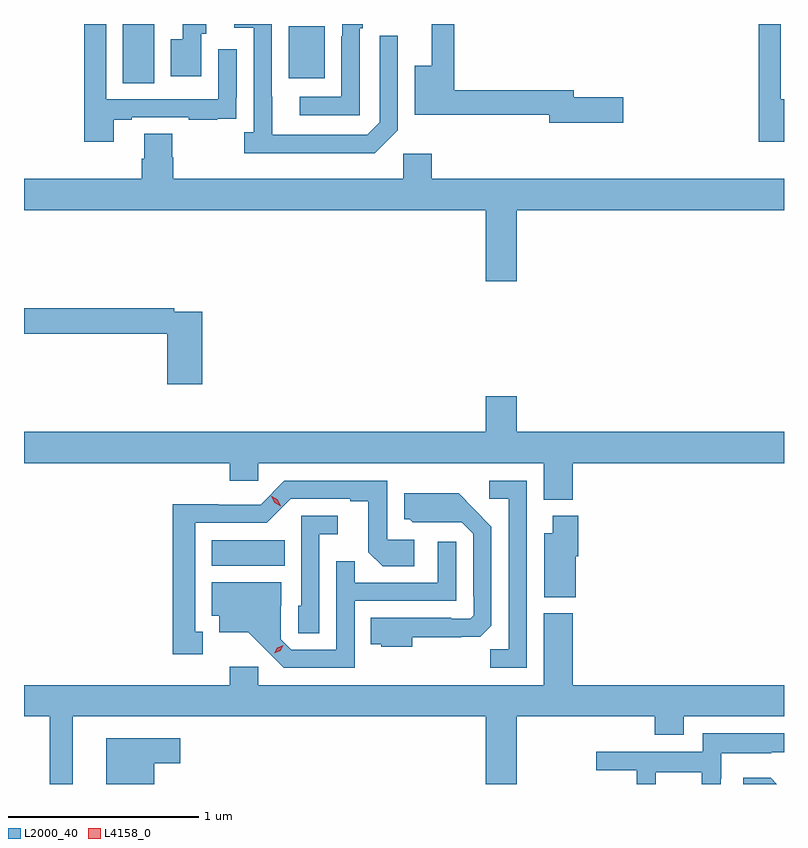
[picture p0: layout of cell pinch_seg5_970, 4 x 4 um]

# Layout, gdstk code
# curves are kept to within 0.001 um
import gdstk
lib = gdstk.Library(unit=1e-6, precision=1e-09)
def R(c, l, rs):  # rectangles x0, y0, x1, y1
    for r in rs: c.add(gdstk.rectangle(r[:2], r[2:], *l))
def P(c, l, *ps):  # polygons
    for p in ps: c.add(gdstk.Polygon(p, *l))
L2000_40 = (2000, 40)
L4158_0 = (4158, 0)

pinch_seg5_970 = lib.new_cell('pinch_seg5_970')
R(pinch_seg5_970, L2000_40, [(750.98,877.532,751.364,877.666), (750.512,880.072,750.676,880.383), (751.385,880.097,751.573,880.372)])
P(pinch_seg5_970, L2000_40, [(751.959,879.825),(751.959,880.321),(751.863,880.321),(751.863,879.867),(751.797,879.801),(751.297,879.801),(751.296,880.383),(751.098,880.383),(751.098,880.362),(751.2,880.362),(751.2,879.814),(751.149,879.814),(751.149,879.704),(751.838,879.704)],
  [(753.991,879.987),(753.975,879.987),(753.975,880.383),(753.859,880.383),(753.859,879.762),(753.991,879.762)],
  [(753.145,879.998),(752.884,879.998),(752.884,880.034),(752.255,880.034),(752.255,880.383),(752.138,880.383),(752.138,880.162),(752.048,880.162),(752.048,879.906),(752.756,879.906),(752.756,879.863),(753.145,879.863)],
  [(751.758,880.361),(751.773,880.361),(751.773,880.383),(751.665,880.383),(751.665,880.319),(751.662,880.319),(751.662,879.999),(751.443,879.999),(751.443,879.903),(751.758,879.903)],
  [(750.925,880.332),(750.949,880.332),(750.949,880.383),(750.827,880.383),(750.827,880.303),(750.764,880.303),(750.764,880.107),(750.925,880.107)],
  [(750.463,879.879),(750.559,879.879),(750.559,879.891),(750.859,879.891),(750.859,879.879),(751.007,879.879),(751.007,879.885),(751.109,879.885),(751.109,879.994),(751.11,879.994),(751.11,880.249),(751.014,880.249),(751.014,879.987),(750.423,879.987),(750.423,880.383),(750.307,880.383),(750.307,879.762),(750.463,879.762)],
  [(752.584,879.404),(753.991,879.404),(753.991,879.568),(752.138,879.568),(752.138,879.7),(751.986,879.7),(751.986,879.568),(750.776,879.568),(750.776,879.681),(750.771,879.681),(750.771,879.806),(750.623,879.806),(750.623,879.674),(750.611,879.674),(750.611,879.568),(749.991,879.568),(749.991,879.404),(752.42,879.404),(752.42,879.03),(752.584,879.03)],
  [(750.929,878.868),(750.782,878.868),(750.782,878.888),(749.991,878.888),(749.991,878.752),(750.746,878.752),(750.746,878.487),(750.929,878.487)],
  [(752.879,878.072),(753.991,878.072),(753.991,878.236),(752.584,878.236),(752.584,878.425),(752.42,878.425),(752.42,878.236),(749.991,878.236),(749.991,878.072),(751.073,878.072),(751.073,877.979),(751.224,877.979),(751.224,878.072),(752.726,878.072),(752.726,877.88),(752.879,877.88)],
  [(752.637,877.98),(752.439,877.98),(752.439,877.884),(752.541,877.884),(752.541,877.091),(752.446,877.091),(752.446,876.996),(752.637,876.996)],
  [(750.931,877.185),(750.892,877.185),(750.892,877.758),(751.269,877.758),(751.395,877.884),(751.709,877.884),(751.709,877.872),(751.803,877.872),(751.803,877.604),(751.879,877.528),(752.044,877.528),(752.044,877.668),(751.902,877.668),(751.902,877.98),(751.362,877.98),(751.236,877.854),(751.014,877.854),(751.014,877.856),(750.774,877.856),(750.774,877.065),(750.931,877.065)],
  [(752.034,877.156),(752.392,877.157),(752.451,877.216),(752.451,877.738),(752.279,877.912),(751.991,877.912),(751.991,877.776),(752.022,877.776),(752.038,877.76),(752.295,877.761),(752.355,877.701),(752.355,877.372),(752.358,877.372),(752.358,877.272),(752.34,877.254),(752.24,877.254),(752.24,877.257),(751.816,877.257),(751.816,877.118),(751.872,877.118),(751.872,877.106),(752.034,877.106)],
  [(752.896,877.581),(752.909,877.581),(752.909,877.795),(752.774,877.795),(752.774,877.702),(752.729,877.702),(752.729,877.367),(752.896,877.367)],
  [(751.545,877.697),(751.642,877.697),(751.642,877.794),(751.449,877.794),(751.449,877.32),(751.434,877.32),(751.434,877.177),(751.545,877.177)],
  [(751.731,877.347),(752.265,877.347),(752.265,877.657),(752.169,877.657),(752.169,877.443),(751.733,877.443),(751.733,877.556),(751.635,877.556),(751.635,877.089),(751.398,877.089),(751.341,877.146),(751.341,877.32),(751.345,877.32),(751.345,877.444),(750.98,877.444),(750.98,877.268),(751.019,877.268),(751.019,877.181),(751.171,877.181),(751.358,876.996),(751.731,876.996)],
  [(750.247,876.74),(752.42,876.74),(752.42,876.383),(752.584,876.383),(752.584,876.74),(753.311,876.74),(753.311,876.641),(753.463,876.641),(753.463,876.74),(753.991,876.74),(753.991,876.904),(752.879,876.904),(752.879,877.282),(752.726,877.282),(752.726,876.904),(751.224,876.904),(751.224,877),(751.073,877),(751.073,876.904),(749.991,876.904),(749.991,876.74),(750.126,876.74),(750.126,876.383),(750.247,876.383)],
  [(753.315,876.444),(753.559,876.444),(753.559,876.383),(753.658,876.383),(753.658,876.411),(753.66,876.411),(753.66,876.545),(753.923,876.545),(753.923,876.549),(753.991,876.549),(753.991,876.649),(753.564,876.649),(753.564,876.552),(753.003,876.552),(753.003,876.456),(753.216,876.456),(753.216,876.383),(753.315,876.383)],
  [(750.676,876.491),(750.814,876.491),(750.814,876.625),(750.425,876.625),(750.425,876.383),(750.676,876.383)],
  [(753.92,876.415),(753.777,876.415),(753.777,876.383),(753.952,876.383)])
P(pinch_seg5_970, L4158_0, [(751.308,877.07),(751.308,877.07),(751.325,877.099),(751.356,877.114),(751.356,877.114),(751.356,877.114),(751.339,877.085),(751.308,877.07)],
  [(751.343,877.845),(751.311,877.864),(751.293,877.897),(751.293,877.897),(751.294,877.897),(751.326,877.878),(751.343,877.846),(751.343,877.845)])

lib.write_gds('pinch_seg5_970.gds')
